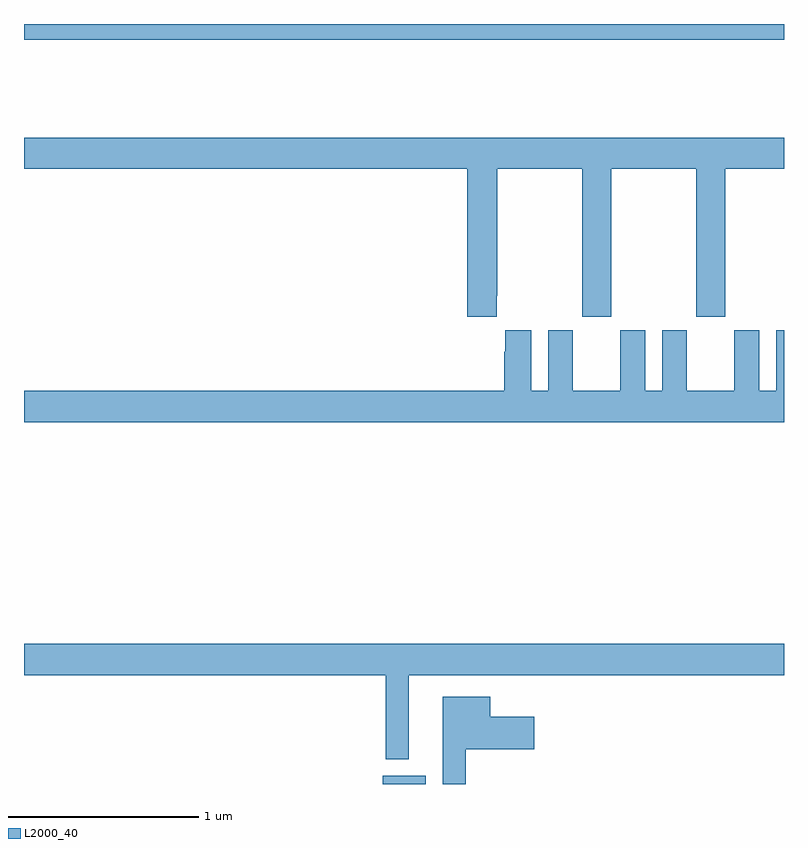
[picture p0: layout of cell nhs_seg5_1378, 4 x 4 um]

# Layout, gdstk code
import gdstk
lib = gdstk.Library(unit=1e-6, precision=1e-09)
def R(c, l, rs):  # rectangles x0, y0, x1, y1
    for r in rs: c.add(gdstk.rectangle(r[:2], r[2:], *l))
def P(c, l, *ps):  # polygons
    for p in ps: c.add(gdstk.Polygon(p, *l))
L2000_40 = (2000, 40)

nhs_seg5_1378 = lib.new_cell('nhs_seg5_1378')
R(nhs_seg5_1378, L2000_40, [(194.888,910.799,195.115,910.843), (193,914.716,197,914.799)])
P(nhs_seg5_1378, L2000_40, [(193,914.036),(195.332,914.036),(195.332,913.257),(195.487,913.257),(195.487,913.369),(195.492,913.369),(195.492,914.036),(195.937,914.036),(195.937,913.257),(196.092,913.257),(196.092,914.036),(196.537,914.036),(196.537,913.257),(196.692,913.257),(196.692,914.036),(197,914.036),(197,914.2),(193,914.2)],
  [(197,913.186),(196.958,913.186),(196.958,912.868),(196.87,912.868),(196.87,913.186),(196.739,913.186),(196.739,912.868),(196.489,912.868),(196.489,913.186),(196.358,913.186),(196.358,912.868),(196.27,912.868),(196.27,913.186),(196.139,913.186),(196.139,912.868),(195.889,912.868),(195.889,913.186),(195.758,913.186),(195.758,912.868),(195.67,912.868),(195.67,913.186),(195.533,913.186),(195.533,913.073),(195.527,913.073),(195.527,912.868),(193,912.868),(193,912.704),(197,912.704)],
  [(195.025,911.372),(197,911.372),(197,911.536),(193,911.536),(193,911.372),(194.904,911.372),(194.904,910.928),(195.025,910.928)],
  [(195.325,910.982),(195.685,910.982),(195.685,911.152),(195.454,911.152),(195.454,911.257),(195.203,911.257),(195.203,910.799),(195.325,910.799)])

lib.write_gds('nhs_seg5_1378.gds')
